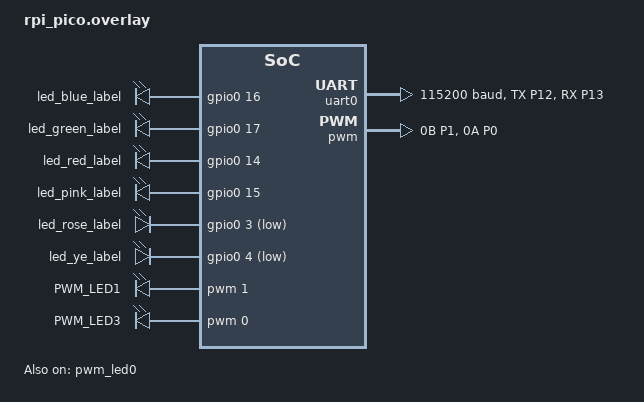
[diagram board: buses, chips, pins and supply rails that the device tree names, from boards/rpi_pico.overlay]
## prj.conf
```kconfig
CONFIG_GPIO=y
CONFIG_STDOUT_CONSOLE=y
CONFIG_PRINTK=y
CONFIG_PWM=y
CONFIG_LOG=y
CONFIG_LOG_PRINTK=y
CONFIG_LOG_MODE_IMMEDIATE=y
CONFIG_PWM_LOG_LEVEL_DBG=y
```

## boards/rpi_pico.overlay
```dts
/ {
  
  aliases {
    led1 = &led_blue_label;
    led2 = &led_green_label;
    led3 = &led_red_label;
    led4 = &led_pink_label;
    led5 = &led_rose_label;
    led6 = &led_ye_label;
    pwm-led1 = &pwm_led1;
		pwm-led0 = &pwm_led3;
  };

  my_leds_node {
    compatible = "gpio-leds";
    led_blue_label: led_blue_node {
      gpios = <&gpio0 16 GPIO_ACTIVE_HIGH>;
    };
  };
  my_leds_nodes {
    compatible = "gpio-leds";
    led_green_label: led_green_node {
      gpios = <&gpio0 17 GPIO_ACTIVE_HIGH>;
    };
  };
  my_leds_nodes1 {
    compatible = "gpio-leds";
    led_red_label: led_red_node {
      gpios = <&gpio0 14 GPIO_ACTIVE_HIGH>;
    };
  };
  my_leds_nodes2 {
    compatible = "gpio-leds";
    led_pink_label: led_pink_node {
      gpios = <&gpio0 15 GPIO_ACTIVE_HIGH>;
    };
  };
  my_leds_nodes3 {
    compatible = "gpio-leds";
    led_rose_label: led_rose_node {
      gpios = <&gpio0 3 GPIO_ACTIVE_LOW>;
    };
  };
  my_leds_nodes4 {
    compatible = "gpio-leds";
    led_ye_label: led_ye_node {
      gpios = <&gpio0 4 GPIO_ACTIVE_LOW>;
    };
  };
  pwm_leds1 {
		compatible = "pwm-leds";
		pwm_led1: pwm_led_1 {
			status = "okay";
			pwms = <&pwm 1 PWM_MSEC(20) PWM_POLARITY_NORMAL>;
			label = "PWM_LED1";
		};
		pwm_led3: pwm_led_3 {
			status = "okay";
			pwms = <&pwm 0 PWM_MSEC(20) PWM_POLARITY_NORMAL>;
			label = "PWM_LED3";
		};
		
	};


};

&uart0 {
	current-speed = <115200>;
	status = "okay";
	pinctrl-0 = <&uart0_default>;
	pinctrl-names = "default";
};

&pinctrl {
	uart0_default: uart0_default {
		group1 {
			pinmux = <UART0_TX_P12>;
		};
		group2 {
			pinmux = <UART0_RX_P13>;
			input-enable;
		};
	};
};

&pinctrl {
	pwm_ch0b_default: pwm_ch0b_default {
		group1 {
			pinmux = <PWM_0B_P1>,
					 <PWM_0A_P0>;
		};
		

	};
	

};

&pwm_led0 {
	status = "okay";
};
&pwm {
	pinctrl-0 = <&pwm_ch0b_default>;
	pinctrl-names = "default";
	divider-int-0 = <255>;
	status = "okay";
	divider-frac-4 = <255>;
	divider-int-4 = <255>;
};
```

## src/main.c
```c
/*
 * Copyright (c) 2016 Intel Corporation
 *
 * SPDX-License-Identifier: Apache-2.0
 */

#include <zephyr/kernel.h>
#include <zephyr/drivers/gpio.h>
#include <zephyr/kernel.h>
#include <zephyr/sys/printk.h>
#include <zephyr/device.h>
#include <zephyr/drivers/pwm.h>
#include "motores.c"
/* 1000 msec = 1 sec */
#define SLEEP_TIME_MS   1000

/* The devicetree node identifier for the "led0" alias. */

void main(void)
{
	
	
inicio_motores();

//calibracio_mot();
 // pruebagiro(); 
 distancia(FWD,5.5,1);
}
```

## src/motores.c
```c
/*
 * Copyright (c) 2016 Intel Corporation
 *
 * SPDX-License-Identifier: Apache-2.0
 */

#include <zephyr/kernel.h>
#include <zephyr/drivers/gpio.h>
#include <zephyr/sys/printk.h>
#include <zephyr/device.h>
#include <zephyr/drivers/pwm.h>


/* 1000 msec = 1 sec */
#define SLEEP_TIME_MS   1000

/* 
Motor A
GPIO 16 ALIASES_OVERLEAY led1 -> CONS ctr1A FWD
GPIO 17 ALIASES_OVERLEAY led2 -> CONS ctr2A REV
GPIO 3  ALIASES_OVERLEAY led5 -> CONS enA ENABLE

Motor B
GPIO 16 ALIASES_OVERLEAY led3 -> CONS ctr1B FWD
GPIO 16 ALIASES_OVERLEAY led4 -> CONS ctr2B REV
GPIO 16 ALIASES_OVERLEAY led6 -> CONS enB ENABLE

ADELANTE
   gpio_pin_set(ctr1A.port, PINC1A , GPIO_ACTIVE_LOW);
	gpio_pin_set(ctr2A.port, PINC2A, GPIO_ACTIVE_HIGH);
	gpio_pin_set(ctr1B.port, PINC1B , GPIO_ACTIVE_LOW);
	gpio_pin_set(ctr2B.port, PINC2B, GPIO_ACTIVE_HIGH);
    gpio_pin_set(enA.port, PINEA , GPIO_ACTIVE_HIGH);
	gpio_pin_set(enB.port, PINEB, GPIO_ACTIVE_HIGH);

FORMULAS:
r radio de la rueda = 3.25cm
d diamentro de la rueda = 6cm
dr distancia de los centros rueda = 14
rr radio de la distancia de centros = 7

P(giro)= 2*pi*dr = 2*3,14*3.25 = 43.98cm
P(giro)= 2*pi*r = 2*3,14*3.25 = 20.42cm
Relacion = p(giro)/p(rueda) = 43.98/20.41 = 2.15

5V
vel maxima  tiempo de 5.5 mili sef func PWM_MSEC(5.5) giro completo
360 grados -> 0.4*2.15
12V
velocidad(0.5,0.5,MOTA);
velocidad(0.5,0.5,MOTB);
stop 0.4MSEC


*/
#define LED1_NODE DT_ALIAS(led1)
#define LED2_NODE DT_ALIAS(led2)
#define LED3_NODE DT_ALIAS(led3)
#define LED4_NODE DT_ALIAS(led4)
#define LED5_NODE DT_ALIAS(led5)
#define LED6_NODE DT_ALIAS(led6)

#define PINC1A DT_GPIO_PIN(LED1_NODE, gpios)
#define PINC2A DT_GPIO_PIN(LED2_NODE, gpios)
#define PINC1B DT_GPIO_PIN(LED3_NODE, gpios)
#define PINC2B DT_GPIO_PIN(LED4_NODE, gpios)
#define PINEA DT_GPIO_PIN(LED5_NODE, gpios)
#define PINEB DT_GPIO_PIN(LED6_NODE, gpios)


static const struct gpio_dt_spec ctr1A = GPIO_DT_SPEC_GET(LED1_NODE, gpios);
static const struct gpio_dt_spec ctr2A = GPIO_DT_SPEC_GET(LED2_NODE, gpios);
static const struct gpio_dt_spec ctr1B = GPIO_DT_SPEC_GET(LED3_NODE, gpios);
static const struct gpio_dt_spec ctr2B = GPIO_DT_SPEC_GET(LED4_NODE, gpios);
static const struct gpio_dt_spec enA = GPIO_DT_SPEC_GET(LED5_NODE, gpios);
static const struct gpio_dt_spec enB = GPIO_DT_SPEC_GET(LED6_NODE, gpios);

static const struct pwm_dt_spec pwm_led0 = PWM_DT_SPEC_GET(DT_ALIAS(pwm_led0));
static const struct pwm_dt_spec pwm_led1 = PWM_DT_SPEC_GET(DT_ALIAS(pwm_led1));
#define MIN_PERIOD PWM_SEC(1U) / 128U
#define MAX_PERIOD PWM_SEC(1U)
//#define MIN_PERIOD PWM_USEC(700)
//#define MAX_PERIOD PWM_USEC(2500)
#define TGIROCOM 0.4
#define PGRADOS(x) K_SECONDS(2.15*TGIROCOM*(x/360))
#define PCENTI(x) K_SECONDS(TGIROCOM/2.15)

enum direction_mot {
	RIGTH,
	FWD,
	LEFT,
	RWD,
};
enum motor {
	MOTA,
	MOTB,
};

/**
 * @brief Inicia los puertos de los motores y  los pone todo en LOW
 * 
 */
void inicio_motores(){
  	int ret, ret1, ret2, ret3, ret4, ret5;
	int dr1a, dr2a, dr1b, dr2b, enab1, enab2;  
	int d0, d1;
	d0 = device_is_ready(pwm_led0.dev);
	d1 = device_is_ready(pwm_led1.dev);

	if (!d0 || !d1 ) {
		printk("Error: PWM device %s is not ready\n",
		       pwm_led0.dev->name);
			   printk("Error: PWM device %s is not ready\n",
		       pwm_led1.dev->name);
		return;
	}


	dr1a = device_is_ready(ctr1A.port);
	dr2a = device_is_ready(ctr2A.port);
	dr1b = device_is_ready(ctr1B.port);
	dr2b = device_is_ready(ctr2B.port);
        enab1 = device_is_ready(enA.port);
        enab2 = device_is_ready(enB.port);

	if (!dr1a || !dr2a || !dr1b ||!dr2b || !enab1 || !enab2) {
		return;
	}
	

	ret = gpio_pin_configure_dt(&ctr1A, GPIO_OUTPUT_ACTIVE);
	ret1 = gpio_pin_configure_dt(&ctr2A, GPIO_OUTPUT_ACTIVE);
	ret2 = gpio_pin_configure_dt(&ctr1B, GPIO_OUTPUT_ACTIVE);
	ret3 = gpio_pin_configure_dt(&ctr2B, GPIO_OUTPUT_ACTIVE);
        ret4 = gpio_pin_configure_dt(&enA, GPIO_OUTPUT_ACTIVE);
	ret5 = gpio_pin_configure_dt(&enB, GPIO_OUTPUT_ACTIVE);
	
	if (ret < 0 || ret1 < 0 ||ret2 < 0 ||ret3 < 0 ||ret4 < 0 ||ret5 < 0) {
		printk("Error %d: failed to set pulse width\n", ret);
		printk("Error %d: failed to set pulse width\n", ret1);
		printk("Error %d: failed to set pulse width\n", ret2);
		printk("Error %d: failed to set pulse width\n", ret3);
        printk("Error %d: failed to set pulse width\n", ret4);
		printk("Error %d: failed to set pulse width\n", ret5);

		return;
	}
	
	

	gpio_pin_set(ctr1A.port, PINC1A , GPIO_ACTIVE_LOW);
	gpio_pin_set(ctr2A.port, PINC2A, GPIO_ACTIVE_LOW);
	gpio_pin_set(ctr1B.port, PINC1B , GPIO_ACTIVE_LOW);
	gpio_pin_set(ctr2B.port, PINC2B, GPIO_ACTIVE_LOW);
    gpio_pin_set(enA.port, PINEA , GPIO_ACTIVE_LOW);
	gpio_pin_set(enB.port, PINEB, GPIO_ACTIVE_LOW);

	if (!device_is_ready(pwm_led0.dev)) {
		printk("Error: PWM device %s is not ready\n",
		       pwm_led0.dev->name);
		return;
	}
        if (!device_is_ready(pwm_led1.dev)) {
		printk("Error: PWM device %s is not ready\n",
		       pwm_led0.dev->name);
		return;
	}
}


/**
 * @brief 
 * 
 * @param dir  Se debe indicar hacia que direccion se realizara el giro LEFT, RIGH
 * @param grados Se indica en numero entero los grados que se quiere girar ejemplo 10 si son 10 grados
 * @param vel Se indica en numero entero la velocidad del grio
 */
void giro(enum direction_mot dir, int grados, int vel){

    switch (dir)
    {
    case LEFT:
        gpio_pin_set(ctr1A.port, PINC1A , GPIO_ACTIVE_LOW);
		gpio_pin_set(ctr2A.port, PINC2A, GPIO_ACTIVE_HIGH);
		gpio_pin_set(ctr1B.port, PINC1B , GPIO_ACTIVE_HIGH);
		gpio_pin_set(ctr2B.port, PINC2B, GPIO_ACTIVE_LOW);
		velocidad(vel,vel,MOTA);
		velocidad(vel,vel,MOTB);
		k_sleep(PGRADOS(grados));
		paradatotal();
        break;
    case RIGTH:
        gpio_pin_set(ctr1A.port, PINC1A , GPIO_ACTIVE_LOW);
		gpio_pin_set(ctr2A.port, PINC2A, GPIO_ACTIVE_HIGH);
		gpio_pin_set(ctr1B.port, PINC1B , GPIO_ACTIVE_LOW);
		gpio_pin_set(ctr2B.port, PINC2B, GPIO_ACTIVE_HIGH);
		velocidad(vel,vel,MOTA);
		velocidad(vel,vel,MOTB);
		k_sleep(PGRADOS(grados));
		paradatotal();
        break;
    default:
        break;
    }
}

/**
 * @brief Para los dos motores, pone en bajo todos los pines
 * 
 */
void paradatotal(){
		gpio_pin_set(ctr1A.port, PINC1A , GPIO_ACTIVE_LOW);
		gpio_pin_set(ctr2A.port, PINC2A, GPIO_ACTIVE_LOW);
		gpio_pin_set(ctr1A.port, PINC1B , GPIO_ACTIVE_LOW);
		gpio_pin_set(ctr2A.port, PINC2B, GPIO_ACTIVE_LOW);

}

/**
 * @brief 
 * 
 * @param dir Se indica en que direccion se quiere mover Adelante FWD o atras RWD 
 * @param vel Se indica la velocidad a la que se quiere mover en numeros enteros
 * @param cm Se indica la distancia en cm que se quiere recorrer
 */
void distancia(enum direction_mot dir, int vel, int cm){

	switch (dir)
	{
	case FWD:
		gpio_pin_set(ctr1A.port, PINC1A , GPIO_ACTIVE_LOW);
		gpio_pin_set(ctr2A.port, PINC2A, GPIO_ACTIVE_HIGH);
		gpio_pin_set(ctr1B.port, PINC1B , GPIO_ACTIVE_LOW);
		gpio_pin_set(ctr2B.port, PINC2B, GPIO_ACTIVE_HIGH);
		velocidad(vel,vel,MOTA);
		velocidad(vel,vel,MOTB);
		k_sleep(PCENTI(cm));
		paradatotal();
		break;
	case RWD:
		gpio_pin_set(ctr1A.port, PINC1A , GPIO_ACTIVE_HIGH);
		gpio_pin_set(ctr2A.port, PINC2A, GPIO_ACTIVE_LOW);
		gpio_pin_set(ctr1B.port, PINC1B , GPIO_ACTIVE_HIGH);
		gpio_pin_set(ctr2B.port, PINC2B, GPIO_ACTIVE_LOW);
		velocidad(vel,vel,MOTA);
		velocidad(vel,vel,MOTB);
		k_sleep(PCENTI(cm));
		paradatotal();

		break;
	
	default:
		break;
	}

}
/**
 * @brief 
 * 
 * @param a Periodo
 * @param b Pulso
 * @param mot se debe escoger el motor MOTORA o MOTORB
 */
void velocidad (int a, int b, enum motor mot){
	switch (mot)
	{
	case MOTA:
		pwm_set_dt(&pwm_led0, PWM_MSEC(a), PWM_MSEC(a));
		break;
	case MOTB:
		pwm_set_dt(&pwm_led1, PWM_MSEC(a), PWM_MSEC(a));
		break;
	default:
		break;
	}
	
    
}

/**
 * @brief Funcion para calibrar los motores, se realiza variacion de tiempos de parada
 * 		  de tal manera que cuando de un giro completo se detenga y ese valor de segundos 
 *        es el que se usa como TGIROCOM
 * 
 */
void calibracio_mot(){
	int seg;
	int i;
	for (i = 1; i < 10; i++)
	{
		gpio_pin_set(ctr1A.port, PINC1A , GPIO_ACTIVE_LOW);
		gpio_pin_set(ctr2A.port, PINC2A, GPIO_ACTIVE_HIGH);
		gpio_pin_set(ctr1B.port, PINC1B , GPIO_ACTIVE_LOW);
		gpio_pin_set(ctr2B.port, PINC2B, GPIO_ACTIVE_HIGH);
		velocidad(5.5,5.5,MOTA);
		velocidad(5.5,5.5,MOTB);

		seg = i/10;
		k_sleep(K_SECONDS(seg));
		printk("la i:%d\n",i);
		printk("segunods:%d\n",seg);
		
		gpio_pin_set(ctr1A.port, PINC1A , GPIO_ACTIVE_LOW);
		gpio_pin_set(ctr2A.port, PINC2A, GPIO_ACTIVE_LOW);
		gpio_pin_set(ctr1A.port, PINC1B , GPIO_ACTIVE_LOW);
		gpio_pin_set(ctr2A.port, PINC2B, GPIO_ACTIVE_LOW);

		k_sleep(K_SECONDS(5));
	}
	
}
```
